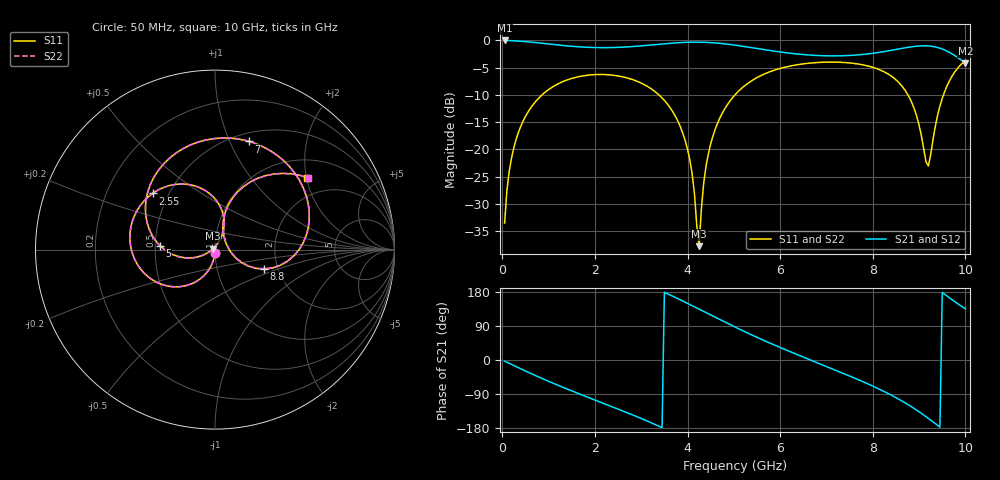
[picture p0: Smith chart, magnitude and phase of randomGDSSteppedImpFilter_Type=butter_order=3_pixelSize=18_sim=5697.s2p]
! freq	dB(S11)	phase(S11)	dB(S12)	phase(S12)
!  dB(S21)	phase(S21)	dB(S22)	phase(S22)
!S-par simulation data
#  GHz  S  DB  R 50
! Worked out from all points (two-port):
!   200 points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, 50 MHz to 10 GHz, reference 50 ohm
!   highest |S21| = -0.01 dB at 50 MHz (marker M1); lowest = -4.2 dB at 10 GHz (marker M2)
!   |S21| within 3 dB of the highest: start of sweep to 9.812 GHz
!   lowest |S11| = -37.8 dB at 4.25 GHz (marker M3), VSWR 1.03, Z = 48.8 + j0.528 ohm
!   |S11| at or under -10 dB: start of sweep to 858.4 MHz; 3.381 GHz to 5.025 GHz (1.644 GHz wide, 39.1 % of centre); 8.759 GHz to 9.527 GHz (768.1 MHz wide, 8.4 % of centre)
!   |S22| runs from -38.3 to -3.7 dB; largest |S21 - S12| = 0
!   S11 on the Smith chart (normalised r, x): 50 MHz: 1.00, -0.04; 2.55 GHz: 0.41, +0.33; 5 GHz: 0.53, +0.03; 7 GHz: 0.59, +1.18; 8.8 GHz: 1.69, -0.40; 10 GHz: 1.45, +2.03
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0.05  -33.52 -93.0  -0.01 -3.0  -0.01 -3.0  -33.52 -93.0
0.2  -21.55 -102.0  -0.05 -11.8  -0.05 -11.8  -21.55 -102.0
0.5  -13.97 -119.5  -0.22 -29.0  -0.22 -29.0  -13.97 -119.5
1.1  -8.46 -152.0  -0.75 -61.5  -0.75 -61.5  -8.46 -152.0
1.75  -6.50 175.9  -1.23 -93.6  -1.23 -93.6  -6.50 175.9
2.55  -6.60 138.0  -1.26 -131.8  -1.26 -131.8  -6.60 138.0
3.4  -10.14 95.1  -0.69 -175.7  -0.69 -175.7  -10.14 95.0
4  -19.98 64.8  -0.35 149.4  -0.35 149.4  -19.99 64.4
4.1  -24.53 63.3  -0.33 143.3  -0.33 143.3  -24.55 62.5
4.25  -37.76 155.3  -0.33 134.1  -0.33 134.1  -38.32 156.8
4.35  -26.14 -156.2  -0.35 127.9  -0.35 127.9  -26.17 -155.1
4.45  -20.78 -156.2  -0.38 121.7  -0.38 121.7  -20.79 -155.5
5  -10.24 175.8  -0.84 88.3  -0.84 88.3  -10.24 176.0
5.05  -9.77 173.0  -0.90 85.4  -0.90 85.4  -9.77 173.2
5.85  -5.53 129.7  -1.94 40.9  -1.94 40.9  -5.54 129.9
6.7  -4.12 87.2  -2.72 -2.2  -2.72 -2.2  -4.12 87.4
7  -3.99 72.5  -2.83 -17.1  -2.83 -17.1  -3.99 72.7
8.35  -6.27 3.1  -1.90 -89.6  -1.90 -89.6  -6.27 3.4
8.8  -10.65 -21.6  -1.22 -120.6  -1.22 -120.6  -10.64 -21.2
9.2  -23.05 31.7  -1.02 -154.0  -1.02 -154.0  -22.84 31.7
9.5  -10.65 71.9  -1.59 178.3  -1.59 178.3  -10.63 71.7
10  -3.70 37.9  -4.17 135.2  -4.17 135.2  -3.70 37.9
